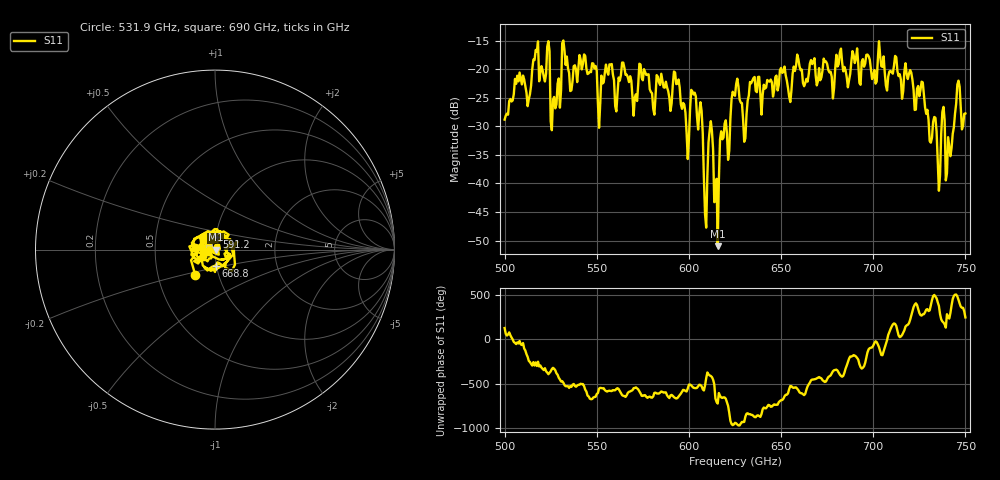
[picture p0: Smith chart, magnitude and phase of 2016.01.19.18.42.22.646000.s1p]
!Created with skrf (http://scikit-rf.org).
# GHz S RI R 50.0
!freq ReS11 ImS11
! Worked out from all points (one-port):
!   401 points, 500 GHz to 750 GHz, reference 50 ohm
!   lowest |S11| = -51.0 dB at 615.6 GHz (marker M1), VSWR 1.01, Z = 50.3 - j0.0165 ohm
!   |S11| at or under -10 dB: start of sweep to end of sweep
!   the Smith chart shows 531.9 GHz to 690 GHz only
!   S11 on the Smith chart (normalised r, x): 531.9 GHz: 0.77, -0.22; 591.2 GHz: 1.01, +0.15; 668.8 GHz: 1.00, -0.18; 690 GHz: 0.80, +0.01
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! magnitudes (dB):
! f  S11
! 500 GHz  -28.8
! 516.9 GHz  -16.6
! 523.1 GHz  -16.1
! 526.2 GHz  -25.3
! 531.2 GHz  -15.4
! 531.9 GHz  -15.0
! 562.5 GHz  -22.0
! 591.2 GHz  -22.7
! 593.8 GHz  -22.5
! 598.8 GHz  -31.2
! 602.5 GHz  -24.4
! 606.2 GHz  -25.8
! 609.4 GHz  -47.7
! 611.9 GHz  -29.1
! 615.6 GHz  -51.0
! 625 GHz  -24.6
! 630 GHz  -32.7
! 634.4 GHz  -22.0
! 656.2 GHz  -20.8
! 668.8 GHz  -21.0
! 687.5 GHz  -20.8
! 690 GHz  -18.9
! 718.8 GHz  -21.7
! 735.6 GHz  -41.3
! 737.5 GHz  -27.5
! 740.6 GHz  -31.9
! 745.6 GHz  -22.7
! 750 GHz  -27.7
